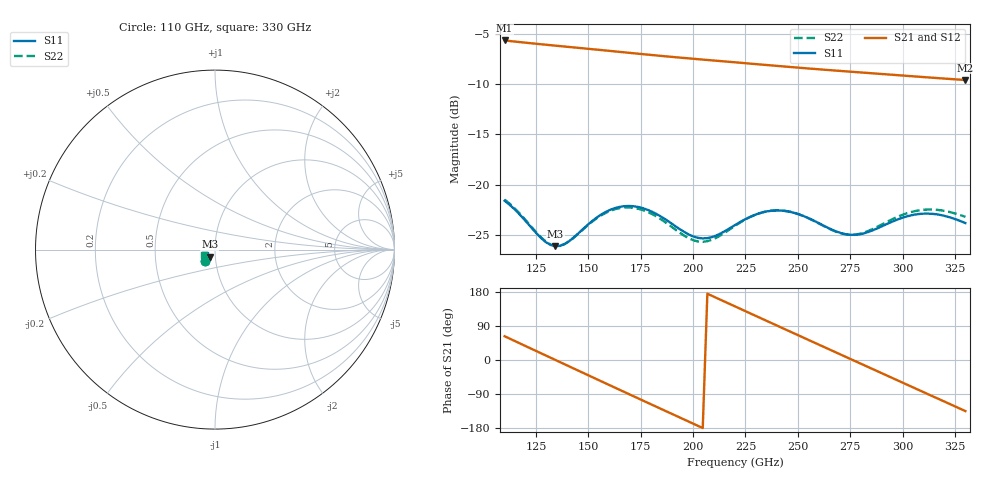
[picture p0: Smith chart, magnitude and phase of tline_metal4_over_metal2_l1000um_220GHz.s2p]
#  GHZ S DB R 50
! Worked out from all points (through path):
!   101 points, 110 GHz to 330 GHz, reference 50 ohm
!   highest |S21| = -5.64 dB at 110 GHz (marker M1); lowest = -9.6 dB at 330 GHz (marker M2)
!   group delay of S21, straight-line fit = 7.03 ps
!   lowest |S11| = -26.1 dB at 134.2 GHz (marker M3), VSWR 1.10, Z = 47 - j3.74 ohm
!   |S11| at or under -10 dB: start of sweep to end of sweep
!   |S22| runs from -26.1 to -21.5 dB; largest |S21 - S12| = 6.8e-14
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110  -21.60 -130.8  -5.64 62.7  -5.64 62.7  -21.48 -130.0
123.2  -24.37 -138.1  -5.93 28.6  -5.93 28.6  -24.29 -137.6
134.2  -26.12 -126.6  -6.16 0.2  -6.16 0.2  -26.09 -126.4
147.4  -24.42 -114.3  -6.42 -33.7  -6.42 -33.7  -24.46 -114.1
156.2  -22.96 -117.8  -6.60 -56.3  -6.60 -56.3  -23.04 -117.7
165  -22.20 -125.9  -6.78 -78.9  -6.78 -78.9  -22.32 -125.9
173.8  -22.22 -135.0  -6.96 -101.4  -6.96 -101.4  -22.39 -134.9
184.8  -23.19 -143.4  -7.18 -129.3  -7.18 -129.3  -23.46 -143.1
193.6  -24.41 -144.7  -7.34 -151.7  -7.34 -151.7  -24.77 -143.7
202.4  -25.29 -139.4  -7.50 -174.0  -7.50 -174.0  -25.65 -137.3
211.2  -25.04 -132.1  -7.66 163.7  -7.66 163.7  -25.26 -129.2
220  -24.01 -129.6  -7.82 141.5  -7.82 141.5  -24.09 -126.7
228.8  -23.06 -132.6  -7.97 119.2  -7.97 119.2  -23.06 -130.1
237.6  -22.59 -138.6  -8.13 97.0  -8.13 97.0  -22.57 -136.5
246.4  -22.70 -145.1  -8.28 74.8  -8.28 74.8  -22.70 -143.2
257.4  -23.55 -150.4  -8.47 47.2  -8.47 47.2  -23.57 -148.5
266.2  -24.47 -150.1  -8.61 25.1  -8.61 25.1  -24.50 -147.9
275  -24.99 -145.4  -8.75 3.0  -8.75 3.0  -24.98 -142.7
283.8  -24.69 -140.1  -8.88 -19.1  -8.88 -19.1  -24.59 -137.0
294.8  -23.70 -138.7  -9.05 -46.7  -9.05 -46.7  -23.46 -135.8
312.4  -22.88 -146.9  -9.32 -90.8  -9.32 -90.8  -22.47 -144.4
330  -23.82 -153.8  -9.58 -134.7  -9.58 -134.7  -23.20 -152.5
